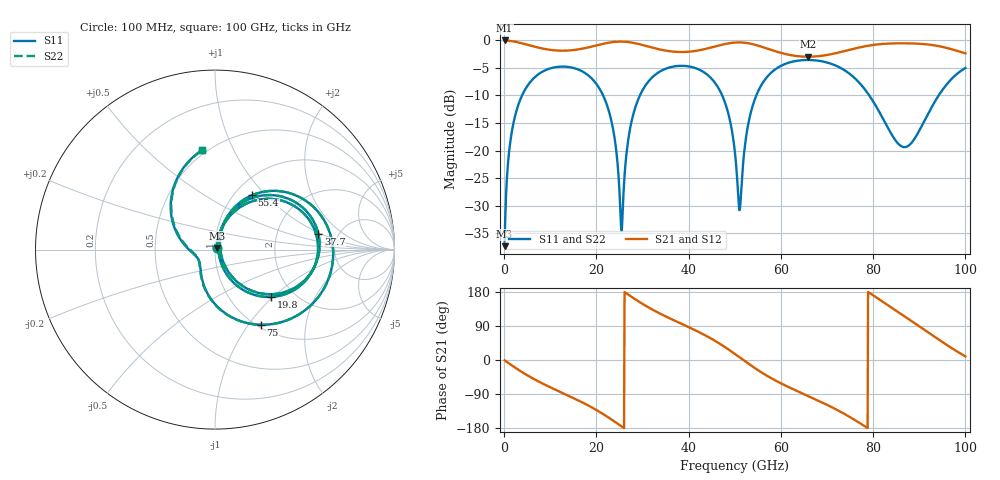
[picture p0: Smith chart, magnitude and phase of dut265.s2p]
! Touchstone file exported from HFSS 2026.1.0
!  File:  C:/ffzhzh/LocalFiles/Ansys_Project_Files/temp_train_TSV_RDL_265_1783674068_26216.aedt
!  Generated:  05:08:15 PM Jul 10, 2026
!  Design:  TSV_RDL
!  Project:  temp_train_TSV_RDL_265_1783674068_26216
! Variables:
!  h_bsmrdl = 4.66um
!  h_ox = 20um
!  h_rdl = 5um
!  h_sub = 96.08um
!  h_tmrdl = 3.49um
!  h_tsv = 96.08um
!  h_via = 3um
!  l_bsmrdl = 380.27um
!  l_sub = 2079.22um
!  l_tmrdl = 110.91um
!  m_sub = 200um
!  pitch = 59.45um
!  r_tsv = 9.46um
!  s_tmrdl = 10um
!  w_bsmrdl = 17.49um
!  w_sub = 500um
!  w_tmrdl = 14.1um
!  x_tsv_center1 = 117.96um
!  x_tsv_center2 = 515.72um
!  x_tsv_center3 = 640.73um
!  x_tsv_center4 = 1038.49um
!  x_tsv_center5 = 1163.5um
!  x_tsv_center6 = 1561.26um
# GHz S MA R 50.000000
! Terminal data exported
! Port[1] = TM_RDL1_1_T1
! Port[2] = TM_RDL5_1_T1
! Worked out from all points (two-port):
!   1000 points, 100 MHz to 100 GHz, reference 50 ohm
!   highest |S21| = -0.09 dB at 100 MHz (marker M1); lowest = -3.0 dB at 65.9 GHz (marker M2)
!   |S21| within 3 dB of the highest: start of sweep to end of sweep
!   lowest |S11| = -37.3 dB at 100 MHz (marker M3), VSWR 1.03, Z = 51 + j0.953 ohm
!   |S11| at or under -10 dB: 21.44 GHz to 29.45 GHz (8.014 GHz wide, 31.5 % of centre); 47.25 GHz to 54.69 GHz (7.437 GHz wide, 14.6 % of centre); 79.13 GHz to 94.23 GHz (15.11 GHz wide, 17.4 % of centre) (the widest 3 of 4)
!   |S22| runs from -37.3 to -3.6 dB; largest |S21 - S12| = 4.9e-14
!   S11 on the Smith chart (normalised r, x): 100 MHz: 1.02, +0.02; 19.8 GHz: 1.54, -0.98; 37.7 GHz: 3.51, +0.95; 55.4 GHz: 1.20, +0.84; 75 GHz: 1.04, -1.15; 100 GHz: 0.47, +0.76
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0.1  0.01365 43.2  0.9902 -0.9  0.9902 -0.9  0.01365 43.2
! Gamma 0 0 0 0
! Port Impedance 50 0 50 0
1.5  0.1342 71.6  0.9782 -12.9  0.9782 -12.9  0.1342 71.6
4.2  0.3353 52.8  0.9255 -34.3  0.9255 -34.3  0.3353 52.8
10.7  0.563 12.5  0.8078 -76.0  0.8078 -76.0  0.563 12.5
16.8  0.5234 -21.3  0.8322 -110.9  0.8322 -110.9  0.5234 -21.3
19.8  0.4106 -39.9  0.8886 -130.5  0.8886 -130.5  0.4106 -39.9
23.4  0.1736 -63.4  0.9555 -158.1  0.9555 -158.1  0.1736 -63.4
25.5  0.0189 16.3  0.9671 -175.6  0.9671 -175.6  0.01905 16.4
28  0.2128 67.9  0.9418 163.6  0.9418 163.6  0.2129 67.9
33.4  0.507 33.0  0.8269 124.9  0.8269 124.9  0.507 33.0
37.7  0.5822 8.8  0.7794 99.7  0.7794 99.7  0.5822 8.9
46.2  0.3824 -40.5  0.8837 47.1  0.8837 47.1  0.3824 -40.4
50.1  0.0904 -57.3  0.9486 15.4  0.9486 15.4  0.09062 -56.8
51.1  0.02921 16.8  0.9508 6.6  0.9508 6.6  0.03003 16.6
52.9  0.1717 70.7  0.9349 -9.1  0.9349 -9.1  0.1718 70.5
55.4  0.3667 55.7  0.88 -29.7  0.88 -29.7  0.3668 55.7
65.9  0.6595 -5.4  0.7055 -95.0  0.7055 -95.0  0.6595 -5.4
66.7  0.658 -9.6  0.7066 -99.4  0.7066 -99.4  0.658 -9.6
75  0.4908 -58.6  0.817 -150.9  0.817 -150.9  0.4907 -58.7
83.4  0.155 -120.0  0.9281 143.0  0.9281 143.0  0.1544 -121.4
90.8  0.1751 170.3  0.9197 82.3  0.9197 82.3  0.1753 168.5
100  0.5581 97.6  0.7577 9.6  0.7577 9.6  0.5583 97.2
